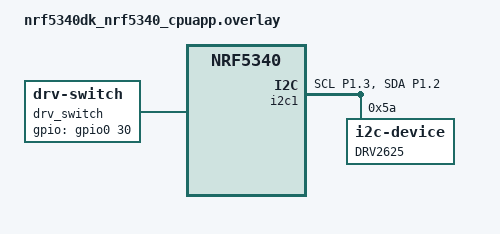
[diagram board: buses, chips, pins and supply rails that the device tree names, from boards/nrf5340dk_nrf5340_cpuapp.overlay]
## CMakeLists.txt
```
cmake_minimum_required(VERSION 3.20.0)
find_package(Zephyr REQUIRED HINTS $ENV{ZEPHYR_BASE})
project(MotorDriver)

target_sources(app PRIVATE
  src/main.c
  drv2625/src/drv2625.c
)

target_include_directories(app PRIVATE
  drv2625/include
)
```

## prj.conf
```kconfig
CONFIG_I2C=y
CONFIG_GPIO=y

CONFIG_TFM_SECURE_UART=n
CONFIG_TFM_LOG_LEVEL_SILENCE=y

# CONFIG_CONSOLE=y
# Replacing UART Console with RTT
CONFIG_UART_CONSOLE=n
CONFIG_USE_SEGGER_RTT=y
CONFIG_RTT_CONSOLE=y

CONFIG_SHELL_BACKEND_RTT=y
CONFIG_SHELL_BACKEND_SERIAL=y

CONFIG_SHELL=y
CONFIG_I2C_SHELL=y
```

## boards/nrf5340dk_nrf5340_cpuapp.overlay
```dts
&i2c1 {
    status = "okay";
    pinctrl-0 = <&i2c1_default>;
    pinctrl-1 = <&i2c1_sleep>;
    pinctrl-names = "default", "sleep";
    drv2625: drv2625@5a{
        compatible = "i2c-device";
        status = "okay";
        reg = < 0x5a >;
        label = "DRV2625";
    };
};

&pinctrl {
	/omit-if-no-ref/ i2c1_default: i2c1_default {
		group1  {
			psels = <NRF_PSEL(TWIM_SCL, 1, 3)>,
			<NRF_PSEL(TWIM_SDA, 1, 2)>;
			bias-pull-up;
		};
	};

	/omit-if-no-ref/ i2c1_sleep: i2c1_sleep {
		group1  {
			psels = <NRF_PSEL(TWIM_SCL, 1, 3)>,
			<NRF_PSEL(TWIM_SDA, 1, 2)>;
			low-power-enable;
		};
	};
};

/ {
	drv_switch: drv_switch {
		compatible = "drv-switch";
		gpios = <&gpio0 30 GPIO_ACTIVE_HIGH>;
	};
};
```

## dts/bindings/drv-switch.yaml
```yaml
description: GPIO pin to switch a driver VDD on or off

compatible: "drv-switch"

properties:
  gpios:
    type: phandle-array
    required: true
    description:
      The GPIO connected to the switch that controls DRV VDD.
```

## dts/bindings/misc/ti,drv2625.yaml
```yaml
description: TI DRV2625 haptic driver

compatible: "ti,drv2625"

include: [i2c-device.yaml]

properties:
  nrst-gpios:
    type: phandle-array
    required: true
    description: GPIO connected to the DRV2625 NRST pin
```

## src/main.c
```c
#include <zephyr/kernel.h>

#include <drv2625.h>

int main(void) {
        /* Create motor struct */
        // My Motor = VG0825001U
        struct motor myMotor;
        myMotor.ratedVoltage = 47;
        myMotor.odClamp = 83;
        myMotor.driveTime = 16; // LRA Drive Time = 2.1ms
        myMotor.olLRAPeriod = 169;
        myMotor.isLRA = 1;

        // This motor has brown-out issues during auto-calibration
        // Cannot use Closed Loop
        drv2625_init(&myMotor, 1);
        for (int i = 0; i < 300; i++) { // should be ~30 seconds
                rtp_drive(127); // keep it at default
                k_msleep(100);
        }
        stop_effect();
        
        // turn off after 5 seconds
        // k_msleep(5000);
        // power_down(0);

        while (1) {
                k_sleep(K_FOREVER);
        }
        
        return 0;
}
```

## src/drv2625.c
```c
/**
 * @file drv2625.c
 * @author Katie Jiang
 * @brief DRV2625EVM-MINI Driver for nRF5340dk
 * @version 0.1
 * @date 2026-06-30
 * @note Trigger control is currently done with GO bit.
 */

#include "drv2625.h"
#include <zephyr/sys/printk.h>

static const struct i2c_dt_spec drv_i2c = I2C_DT_SPEC_GET(I2C_NODE);

static bool is_ready() {
      if (!device_is_ready(drv_i2c.bus)) {
            printk("I2C bus %s is not ready!\n\r", drv_i2c.bus->name);
            return false;
      }
      return true;
}

/* I2C FUNCTIONS */
static void write_transfer(uint8_t reg_addr, uint8_t data) {
      // SINGLE-BYTE WRITE
      uint8_t buf[2] = {reg_addr, data};
      int ret = i2c_write_dt(&drv_i2c, buf, sizeof(buf));
      if (ret != 0) {
            printk("Failed to write to I2C device address %x at reg. %x \n\r", drv_i2c.addr, buf[0]);
      }
}

static uint8_t read_transfer(uint8_t reg_addr) {
      // SINGLE-BYTE READ
      uint8_t data;
      int ret = i2c_write_read_dt(&dev_i2c, &reg_addr, 1, &data, 1);
      if (ret != 0){
            printk("Failed to write/read I2C device address %x at reg. %x \n\r", dev_i2c.addr, reg_addr);
      }
      return data;
}

static void nrst_setup() {
      dev = device_get_binding(NRST_PORT);
      gpio_pin_configure(dev, NRST_PIN, GPIO_OUTPUT);
}

static void power_on() {
      while (!is_ready()); // wait until ready
      // Call nrst_setup() before calling power_on()
      nrst_setup();
      // Assert NRST (logic high)
      gpio_pin_set(NRST_PORT, NRST_PIN, 1);
      // Remove device from standby:
      // Write MODE[1:0] to 0x00
      uint8_t buf = read_transfer(MODE_REG) & ~(MODE_MASK); // Clear MODE
      write_transfer(MODE_REG, buf);
}

static void go_trigger() {
      // Set GO bit
      uint8_t buf = read_transfer(GO_REG) | GO_MASK;
      write_transfer(GO_REG, buf);
      // GO automatically clears when process is complete
}

/**
 * @brief Auto-Calibration Routine
 * @note Uses default values for the following calibration engine inputs: 
 * SAMPLE_TIME, FB_BRAKE_FACTOR, AUTO_CAL_TIME, LOOP_GAIN, BLANKING_TIME,
 * IDISS_TIME, and ZC_DET_TIME
 * @param myMotor (struct motor*)
 */
static void autocalibrate(struct motor* myMotor) {
      // STEP 1: Set auto-calibration routine:
      // Write MODE[1:0] to 0x03
      uint8_t buf = read_transfer(MODE_REG) | MODE_MASK; // Set MODE
      write_transfer(MODE_REG, buf);

      // STEP 2: Populate input parameters:
      // Configure LRA_ERM
      if (myMotor->isLRA) { // Set LRA_ERM
            buf = read_transfer(LRA_ERM_REG) | LRA_ERM_MASK;
      } else { // Clear LRA_ERM
            buf = read_transfer(LRA_ERM_REG) & ~(LRA_ERM_MASK);
      }
      write_transfer(LRA_ERM_REG, buf);
      // Configure RATED_VOLTAGE
      write_transfer(RATED_VOLTAGE_REG, myMotor->ratedVoltage);
      // Configure OD_CLAMP
      write_transfer(OD_CLAMP_REG, myMotor->odClamp);
      // Configure DRIVE_TIME
      buf = (read_transfer(DRIVE_TIME_REG) & ~(DRIVE_TIME_MASK)) + (myMotor->driveTime & DRIVE_TIME_MASK);
      write_transfer(DRIVE_TIME_REG, buf);

      // STEP 3: Start auto-calibration process
      go_trigger();

      // STEP 4: Check DIAG_RESULT for success
      uint8_t diagnostic = read_transfer(DIAG_RESULT_REG) & DIAG_RESULT_MASK;
      if (diagnostic) {
            // DIAG_RESULT is high if a fault is detected
            printk("Failed to auto-calibrate \n\r");
      }
      
      // STEP 5: Evaluate system performance
}

static void closed_loop_config() {
      // Clear CONTROL_LOOP bit
      uint8_t buf = read_transfer(CONTROL_LOOP_REG) & ~(CONTROL_LOOP_MASK);
      write_transfer(CONTROL_LOOP_REG, buf);
      // Set to enable auto-braking
      buf = read_transfer(AUTO_BRK_INTO_STBY_REG) | AUTO_BRK_INTO_STBY_MASK;
      write_transfer(AUTO_BRK_INTO_STBY_REG, buf);
}

static void open_loop_config(uint16_t olLRAPeriod) {
      // Set CONTROL_LOOP bit
      uint8_t buf = read_transfer(CONTROL_LOOP_REG) | CONTROL_LOOP_MASK;
      write_transfer(CONTROL_LOOP_REG, buf);
      // Set to enable auto-braking
      buf = read_transfer(AUTO_BRK_INTO_STBY_REG) | AUTO_BRK_INTO_STBY_MASK;
      write_transfer(AUTO_BRK_INTO_STBY_REG, buf);
      // Set to enable OL auto-braking
      buf = read_transfer(AUTO_BRK_OL_REG) | AUTO_BRK_OL_MASK;
      write_transfer(AUTO_BRK_OL_REG, buf);
      // Establish driving frequency for LRA in open loop
      buf = uint8_t(olLRAPeriod & ~(0xff00))
      write_transfer(OL_LRA_PERIOD_REG_LOWER, buf);
      buf = uint8_t((olLRAPeriod & ~(0xff)) >> 8);
      buf += read_transfer(OL_LRA_PERIOD_REG_UPPER) & ~(OL_LRA_PERIOD_MASK_UPPER);
      write_transfer(OL_LRA_PERIOD_REG_UPPER, buf);
}

// TODO
static void rtp_mode() {
      // Select RTP mode operation (Clear MODE)
      uint8_t buf = read_transfer(MODE_REG) & ~(MODE_MASK);
      write_transfer(MODE_REG, buf);
      // TODO Write desired drive amplitude (signed)
      // TODO Trigger the waveform...
}

/**
 * @brief Assumes using an effect from the library
 * 
 * @param effect_id See 9.1.1 Waveform Library Effects List
 * @param main_loop_count See Table 8-27
 */
static void waveform_sequencer(uint8_t effect_id, uint8_t main_loop_count) {
      // Make sure params are valid:
      if (effect_id > 123 || effect_id < 1) {
            return;
      }
      if (main_loop_count > 7) {
            return;
      }

      // STEP 1: Set MODE to 1 to select Waveform Sequencer
      uint8_t buf = (read_transfer(MODE_REG) & ~(MODE_MASK)) + 0x01;
      write_transfer(MODE_REG, buf);

      // STEP 3: Clear WAIT to indicate SEQ holds a wavefrom identifier
      buf = read_transfer(WAV_FRM_SEQ1_REG) & ~(WAITn_MASK);
      write_transfer(WAV_FRM_SEQ1_REG, buf);
      // Populate with ID
      buf = (read_transfer(WAV_FRM_SEQ1_REG) & ~(WAV_FRM_SEQn_MASK)) + effect_id;
      write_transfer(WAV_FRM_SEQ1_REG, buf);
      // Terminate SEQ
      buf = read_transfer(WAV_FRM_SEQ2_REG) & ~(WAV_FRM_SEQn_MASK);
      write_transfer(WAV_FRM_SEQ2_REG, buf);

      // TODO STEP 4: Allow loop control of each sequence. For now, leave WAVn_SEQ_LOOP as default.

      // STEP 5: Set main loop control
      buf = read_transfer(WAV_SEQ_MAIN_LOOP_REG) & ~(WAV_SEQ_MAIN_LOOP_MASK) + main_loop_count;
      write_transfer(WAV_SEQ_MAIN_LOOP_REG, buf);

      // STEP 6: Trigger waveform with GO bit
      go_trigger();
}

/**
 * @brief 
 * 
 * @param myMotor
 * @param open_loop Set to true if you want to configure for open-loop mode
 */
void drv2625_init(struct motor* myMotor, enum Loop loop_type, enum PlaybackMode mode) {
      power_on();
      autocalibrate(myMotor);

      // Closed or open loop?
      if (loop_type == OPEN_LOOP) {
            // if using ROM library B (ERM Open-Loop)
            uint8_t buf = read_transfer(LIB_SEL_REG) | LIB_SEL_MASK;
            write_transfer(LIB_SEL_REG, buf);
            open_loop_config(myMotor->olLRAPeriod);
      } else {
            // if using ROM library A (LRA Closed-Loop)
            uint8_t buf = read_transfer(LIB_SEL_REG) & ~(LIB_SEL_MASK);
            write_transfer(LIB_SEL_REG, buf);
            closed_loop_config();
      }

      // Playback mode?
      if (mode == WAVEFORM_SEQUENCER) {
            waveform_sequencer();
      } else {
            rtp_mode();
      }
}
```

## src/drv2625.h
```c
/* INCLUDE */
#include <stdint.h>
#include <stdbool.h>
#include <zephyr/drivers/i2c.h>
#include <zephyr/drivers/gpio.h>

/* PINS */
#define I2C_NODE DT_NODELABEL(drv2625)
#define NRST_PORT "GPIO_1"
#define NRST_PIN 15

/* REGISTERS */
#define DIAG_RESULT_REG 0x01
#define MODE_REG 0x07
#define AUTO_BRK_OL_REG 0x08
#define AUTO_BRK_INTO_STBY_REG 0x08
#define CONTROL_LOOP_REG 0x08
#define LRA_ERM_REG 0x08
#define GO_REG 0x0c
#define LIB_SEL_REG 0x0d
#define RTP_INPUT_REG 0x0e

// WAV_FROM_SEQ Regs
#define WAV_FRM_SEQ1_REG 0x0f
#define WAV_FRM_SEQ2_REG 0x10
#define WAV_FRM_SEQ3_REG 0x11
#define WAV_FRM_SEQ4_REG 0x12
#define WAV_FRM_SEQ5_REG 0x13
#define WAV_FRM_SEQ6_REG 0x14
#define WAV_FRM_SEQ7_REG 0x15
#define WAV_FRM_SEQ8_REG 0x16

#define WAV_SEQ_MAIN_LOOP_REG 0x19
#define RATED_VOLTAGE_REG 0x1f
#define OD_CLAMP_REG 0x20
#define DRIVE_TIME_REG 0x27
#define OL_LRA_PERIOD_REG_UPPER 0x2e
#define OL_LRA_PERIOD_REG_LOWER 0x2f

/* REGISTER MASKS */
#define DIAG_RESULT_MASK 0x80
#define MODE_MASK 0x03
#define AUTO_BRK_OL_MASK 0x10
#define AUTO_BRK_INTO_STBY_MASK 0x08
#define CONTROL_LOOP_MASK 0x40
#define LRA_ERM_MASK 0x80
#define GO_MASK 0x01
#define LIB_SEL_MASK 0x40
#define WAITn_MASK 0x80
#define WAV_FRM_SEQn_MASK 0x7f
#define WAV_SEQ_MAIN_LOOP_MASK 0x07
#define DRIVE_TIME_MASK 0x1f
#define OL_LRA_PERIOD_MASK_UPPER 0x03

/* CONFIG ENUMS */
enum Loop {
      CLOSED_LOOP,
      OPEN_LOOP
};

enum PlaybackMode {
      RTP,
      WAVEFORM_SEQUENCER
};

/* MOTOR STRUCT */
struct motor {
        // OL_LRA_PERIOD[9:0] is the nine least significant bits of olLRAPeriod.
        uint16_t olLRAPeriod = 198;
        uint8_t ratedVoltage; // Calculated with Eq. 6/7 in DRV2625 datasheet
        uint8_t odClamp; // Calculated with Eq. 8/9 in DRV2625 datasheet
        // DRIVE_TIME[4:0] is the five least significant bits of driveTime.
        uint8_t driveTime = 0x10; // See 7.6.1.1 and Table 8-40 in the datasheet
        bool isLRA;
};

/* PUBLIC FUNCTIONS */
void drv2625_init(struct motor* myMotor, enum Loop loop_type);
```
